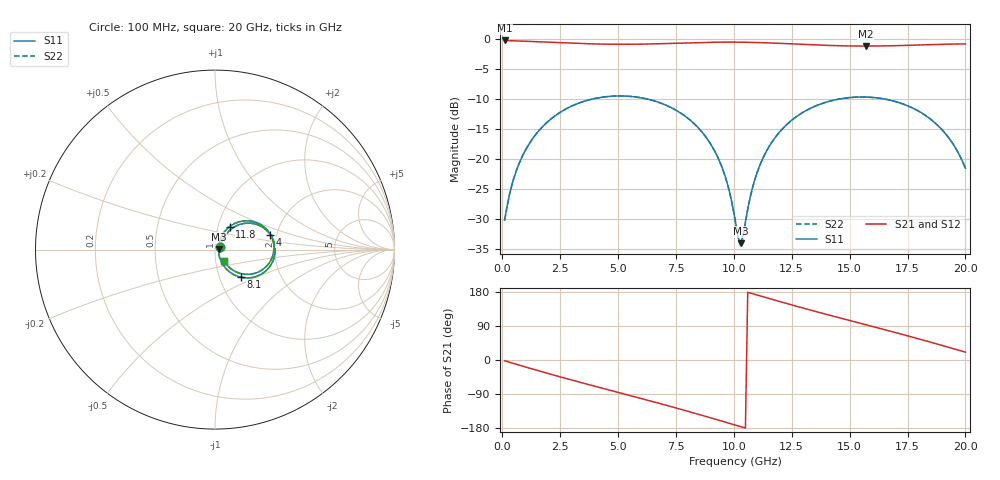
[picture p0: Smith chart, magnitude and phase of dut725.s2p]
! Touchstone file exported from HFSS 2026.1.0
!  File:  C:/ffzhzh/LocalFiles/Ansys_Project_Files/temp_train_TSV_RDL_725_1783202118_18472.aedt
!  Generated:  06:06:11 AM Jul  5, 2026
!  Design:  TSV_RDL
!  Project:  temp_train_TSV_RDL_725_1783202118_18472
! Variables:
!  h_bsmrdl = 4.38um
!  h_ox = 20um
!  h_rdl = 5um
!  h_sub = 53.28um
!  h_tmrdl = 2.44um
!  h_tsv = 53.28um
!  h_via = 3um
!  l_bsmrdl = 659.58um
!  l_sub = 5844.35um
!  l_tmrdl = 832.78um
!  m_sub = 200um
!  pitch = 37.73um
!  r_tsv = 14.77um
!  s_tmrdl = 10um
!  w_bsmrdl = 19.48um
!  w_sub = 500um
!  w_tmrdl = 25.35um
!  x_tsv_center1 = 845.455um
!  x_tsv_center2 = 1524.515um
!  x_tsv_center3 = 2382.645um
!  x_tsv_center4 = 3061.705um
!  x_tsv_center5 = 3919.835um
!  x_tsv_center6 = 4598.895um
# GHz S MA R 50.000000
! Terminal data exported
! Port[1] = TM_RDL1_1_T1
! Port[2] = TM_RDL5_1_T1
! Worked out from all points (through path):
!   200 points, 100 MHz to 20 GHz, reference 50 ohm
!   highest |S21| = -0.25 dB at 100 MHz (marker M1); lowest = -1.2 dB at 15.7 GHz (marker M2)
!   group delay of S21, straight-line fit = 47 ps
!   lowest |S11| = -34.0 dB at 10.3 GHz (marker M3), VSWR 1.04, Z = 52 + j0.175 ohm
!   |S11| at or under -10 dB: start of sweep to 3.894 GHz; 6.258 GHz to 14.55 GHz (8.288 GHz wide, 79.7 % of centre); 16.51 GHz to end of sweep
!   |S22| runs from -34.5 to -9.5 dB; largest |S21 - S12| = 1.6e-14
!   S11 on the Smith chart (normalised r, x): 100 MHz: 1.06, +0.03; 4 GHz: 1.85, +0.34; 8.1 GHz: 1.27, -0.41; 11.8 GHz: 1.14, +0.30; 20 GHz: 1.10, -0.15
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0.1  0.03106 24.4  0.9721 -2.0  0.9721 -2.0  0.03106 24.4
! Gamma 0 0 0 0
! Port Impedance 50 0 50 0
0.5  0.06958 51.8  0.9647 -9.4  0.9647 -9.4  0.06958 51.8
1.2  0.1376 52.4  0.9535 -21.9  0.9535 -21.9  0.1377 52.4
2.2  0.2234 41.1  0.9364 -39.3  0.9364 -39.3  0.2234 41.0
3.5  0.3014 22.5  0.9151 -61.2  0.9151 -61.2  0.3014 22.4
4  0.3195 15.1  0.9092 -69.3  0.9092 -69.3  0.3196 15.0
5.4  0.334 -5.8  0.9034 -91.9  0.9034 -91.9  0.334 -5.9
6.8  0.2948 -27.0  0.9133 -114.8  0.9133 -114.8  0.2948 -27.1
8.1  0.2122 -46.6  0.9297 -136.8  0.9297 -136.8  0.2122 -46.8
8.8  0.152 -56.2  0.9372 -149.1  0.9372 -149.1  0.1519 -56.6
9.4  0.0943 -61.8  0.9411 -159.8  0.9411 -159.8  0.09418 -62.5
9.8  0.05475 -59.6  0.9419 -166.9  0.9419 -166.9  0.05446 -60.8
10.1  0.02789 -40.6  0.9414 -172.3  0.9414 -172.3  0.02718 -42.4
10.3  0.01996 4.8  0.9405 -175.9  0.9405 -175.9  0.01884 4.8
10.9  0.0671 62.8  0.9357 173.3  0.9357 173.3  0.06669 63.7
11.8  0.1527 57.3  0.9228 157.4  0.9228 157.4  0.1525 57.7
13.4  0.27 34.6  0.894 130.2  0.894 130.2  0.2699 34.8
15.7  0.3285 0.7  0.8731 93.1  0.8731 93.1  0.3284 0.8
16.7  0.3109 -14.0  0.877 77.0  0.877 77.0  0.3109 -13.9
18.7  0.1993 -42.4  0.8995 43.5  0.8995 43.5  0.1994 -42.4
19.4  0.1396 -50.2  0.9066 31.3  0.9066 31.3  0.1397 -50.2
20  0.08402 -51.6  0.9102 20.7  0.9102 20.7  0.08414 -51.5
